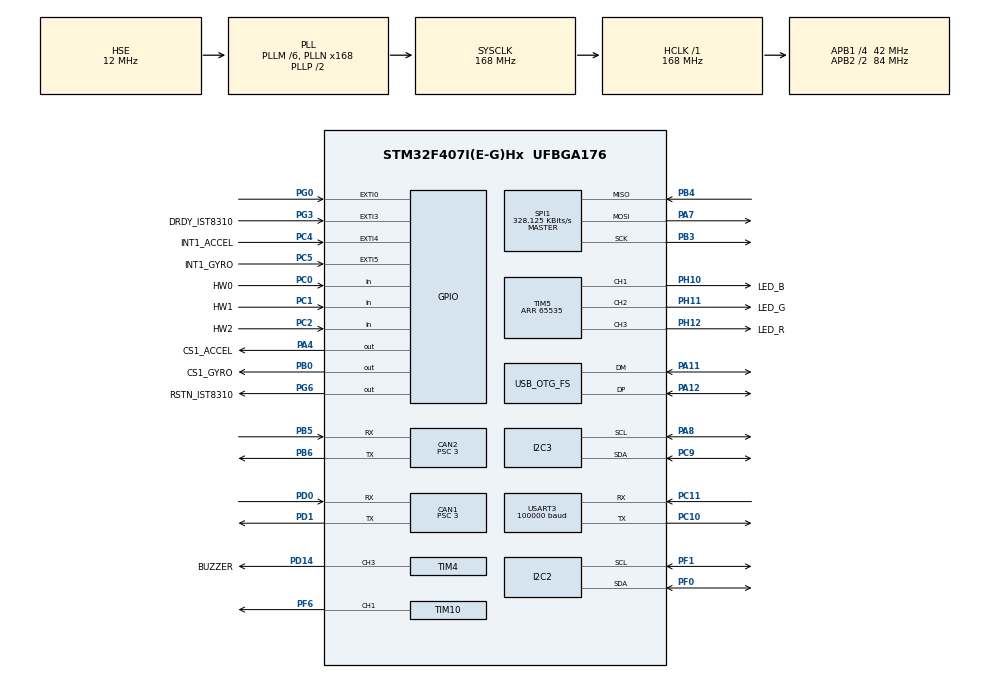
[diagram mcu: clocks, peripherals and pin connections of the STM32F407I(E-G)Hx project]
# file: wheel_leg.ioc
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CAN1.BS1=CAN_BS1_10TQ
CAN1.BS2=CAN_BS2_3TQ
CAN1.CalculateBaudRate=1000000
CAN1.CalculateTimeBit=1000
CAN1.CalculateTimeQuantum=71.42857142857143
CAN1.NART=ENABLE
CAN1.Prescaler=3
CAN2.BS1=CAN_BS1_10TQ
CAN2.BS2=CAN_BS2_3TQ
CAN2.CalculateBaudRate=1000000
CAN2.CalculateTimeBit=1000
CAN2.CalculateTimeQuantum=71.42857142857143
CAN2.NART=ENABLE
CAN2.Prescaler=3
Dma.Request0=USART3_RX
Dma.Request1=SPI1_RX
Dma.Request2=SPI1_TX
Dma.SPI1_RX.1.Direction=DMA_PERIPH_TO_MEMORY
Dma.SPI1_RX.1.FIFOMode=DMA_FIFOMODE_DISABLE
Dma.SPI1_RX.1.Instance=DMA2_Stream2
Dma.SPI1_RX.1.MemDataAlignment=DMA_MDATAALIGN_BYTE
Dma.SPI1_RX.1.MemInc=DMA_MINC_ENABLE
Dma.SPI1_RX.1.Mode=DMA_NORMAL
Dma.SPI1_RX.1.PeriphDataAlignment=DMA_PDATAALIGN_BYTE
Dma.SPI1_RX.1.PeriphInc=DMA_PINC_DISABLE
Dma.SPI1_RX.1.Priority=DMA_PRIORITY_VERY_HIGH
Dma.SPI1_TX.2.Direction=DMA_MEMORY_TO_PERIPH
Dma.SPI1_TX.2.FIFOMode=DMA_FIFOMODE_DISABLE
Dma.SPI1_TX.2.Instance=DMA2_Stream3
Dma.SPI1_TX.2.MemDataAlignment=DMA_MDATAALIGN_BYTE
Dma.SPI1_TX.2.MemInc=DMA_MINC_ENABLE
Dma.SPI1_TX.2.Mode=DMA_NORMAL
Dma.SPI1_TX.2.PeriphDataAlignment=DMA_PDATAALIGN_BYTE
Dma.SPI1_TX.2.PeriphInc=DMA_PINC_DISABLE
Dma.SPI1_TX.2.Priority=DMA_PRIORITY_HIGH
Dma.USART3_RX.0.Direction=DMA_PERIPH_TO_MEMORY
Dma.USART3_RX.0.FIFOMode=DMA_FIFOMODE_DISABLE
Dma.USART3_RX.0.Instance=DMA1_Stream1
Dma.USART3_RX.0.MemDataAlignment=DMA_MDATAALIGN_BYTE
Dma.USART3_RX.0.MemInc=DMA_MINC_ENABLE
Dma.USART3_RX.0.Mode=DMA_NORMAL
Dma.USART3_RX.0.PeriphDataAlignment=DMA_PDATAALIGN_BYTE
Dma.USART3_RX.0.PeriphInc=DMA_PINC_DISABLE
Dma.USART3_RX.0.Priority=DMA_PRIORITY_VERY_HIGH
FREERTOS.INCLUDE_eTaskGetState=1
FREERTOS.INCLUDE_pcTaskGetTaskName=1
FREERTOS.INCLUDE_uxTaskGetStackHighWaterMark=1
FREERTOS.INCLUDE_uxTaskGetStackHighWaterMark2=0
FREERTOS.INCLUDE_vTaskCleanUpResources=1
FREERTOS.INCLUDE_vTaskDelayUntil=1
FREERTOS.INCLUDE_xEventGroupSetBitFromISR=1
FREERTOS.INCLUDE_xQueueGetMutexHolder=1
FREERTOS.INCLUDE_xSemaphoreGetMutexHolder=1
FREERTOS.INCLUDE_xTaskAbortDelay=1
FREERTOS.INCLUDE_xTaskGetCurrentTaskHandle=1
FREERTOS.INCLUDE_xTaskGetHandle=1
FREERTOS.INCLUDE_xTimerPendFunctionCall=1
FREERTOS.Tasks01=defaultTask,0,128,StartDefaultTask,Default,NULL,Dynamic,NULL,NULL
FREERTOS.configENABLE_FPU=1
FREERTOS.configGENERATE_RUN_TIME_STATS=0
FREERTOS.configTOTAL_HEAP_SIZE=24576
FREERTOS.configUSE_NEWLIB_REENTRANT=1
FREERTOS.configUSE_TIMERS=1
I2C3.I2C_Mode=I2C_Fast
Mcu.Family=STM32F4
Mcu.Name=STM32F407I(E-G)Hx
Mcu.Package=UFBGA176
NVIC.CAN1_RX0_IRQn=true\:5\:0\:false\:false\:true\:true\:true\:true\:true
NVIC.CAN1_TX_IRQn=true\:5\:0\:false\:false\:true\:true\:true\:true\:true
NVIC.CAN2_RX0_IRQn=true\:5\:0\:false\:false\:true\:true\:true\:true\:true
NVIC.CAN2_TX_IRQn=true\:5\:0\:false\:false\:true\:true\:true\:true\:true
NVIC.DMA1_Stream1_IRQn=true\:5\:0\:false\:false\:true\:true\:false\:true\:true
NVIC.DMA2_Stream2_IRQn=true\:5\:0\:false\:false\:true\:false\:false\:true\:true
NVIC.DMA2_Stream3_IRQn=true\:5\:0\:false\:false\:true\:true\:false\:true\:true
NVIC.EXTI0_IRQn=true\:5\:0\:false\:false\:true\:true\:true\:true\:true
NVIC.EXTI3_IRQn=true\:5\:0\:false\:false\:true\:true\:true\:true\:true
NVIC.EXTI4_IRQn=true\:5\:0\:false\:false\:true\:true\:true\:true\:true
NVIC.EXTI9_5_IRQn=true\:5\:0\:false\:false\:true\:false\:true\:true\:true
NVIC.OTG_FS_IRQn=true\:5\:0\:false\:false\:true\:true\:false\:true\:true
NVIC.PriorityGroup=NVIC_PRIORITYGROUP_4
NVIC.TIM2_IRQn=true\:15\:0\:false\:false\:true\:false\:false\:true\:true
NVIC.TimeBase=TIM2_IRQn
NVIC.TimeBaseIP=TIM2
NVIC.USART3_IRQn=true\:5\:0\:false\:false\:false\:true\:true\:true\:true
PA11.Mode=Device_Only
PA11.Signal=USB_OTG_FS_DM
PA12.Mode=Device_Only
PA12.Signal=USB_OTG_FS_DP
PA13.Mode=Serial_Wire
PA13.Signal=SYS_JTMS-SWDIO
PA14.Mode=Serial_Wire
PA14.Signal=SYS_JTCK-SWCLK
PA4.GPIO_Label=CS1_ACCEL
PA4.GPIO_PuPd=GPIO_PULLUP
PA4.GPIO_Speed=GPIO_SPEED_FREQ_HIGH
PA4.PinState=GPIO_PIN_SET
PA4.Signal=GPIO_Output
PA7.Mode=Full_Duplex_Master
PA7.Signal=SPI1_MOSI
PA8.Mode=I2C
PA8.Signal=I2C3_SCL
PB0.GPIO_Label=CS1_GYRO
PB0.GPIO_PuPd=GPIO_PULLUP
PB0.GPIO_Speed=GPIO_SPEED_FREQ_HIGH
PB0.PinState=GPIO_PIN_SET
PB0.Signal=GPIO_Output
PB3.Mode=Full_Duplex_Master
PB3.Signal=SPI1_SCK
PB4.Mode=Full_Duplex_Master
PB4.Signal=SPI1_MISO
PB5.Mode=CAN_Activate
PB5.Signal=CAN2_RX
PB6.Mode=CAN_Activate
PB6.Signal=CAN2_TX
PC0.GPIO_Label=HW0
PC0.Signal=GPIO_Input
PC1.GPIO_Label=HW1
PC1.Signal=GPIO_Input
PC10.Mode=Asynchronous
PC10.Signal=USART3_TX
PC11.Mode=Asynchronous
PC11.Signal=USART3_RX
PC2.GPIO_Label=HW2
PC2.Signal=GPIO_Input
PC4.GPIO_Label=INT1_ACCEL
PC4.GPIO_ModeDefaultEXTI=GPIO_MODE_IT_FALLING
PC4.GPIO_PuPd=GPIO_PULLUP
PC4.Signal=GPXTI4
PC5.GPIO_Label=INT1_GYRO
PC5.GPIO_ModeDefaultEXTI=GPIO_MODE_IT_FALLING
PC5.GPIO_PuPd=GPIO_PULLUP
PC5.Signal=GPXTI5
PC9.Mode=I2C
PC9.Signal=I2C3_SDA
PD0.Mode=CAN_Activate
PD0.Signal=CAN1_RX
PD1.Mode=CAN_Activate
PD1.Signal=CAN1_TX
PD14.GPIO_Label=BUZZER
PD14.GPIO_PuPd=GPIO_PULLUP
PD14.GPIO_Speed=GPIO_SPEED_FREQ_VERY_HIGH
PD14.Signal=S_TIM4_CH3
PF0.Mode=I2C
PF0.Signal=I2C2_SDA
PF1.Mode=I2C
PF1.Signal=I2C2_SCL
PF6.GPIO_PuPd=GPIO_PULLUP
PF6.GPIO_Speed=GPIO_SPEED_FREQ_HIGH
PF6.Signal=S_TIM10_CH1
PG0.GPIO_ModeDefaultEXTI=GPIO_MODE_IT_FALLING
PG0.GPIO_PuPd=GPIO_PULLUP
PG0.Signal=GPXTI0
PG3.GPIO_Label=DRDY_IST8310
PG3.GPIO_ModeDefaultEXTI=GPIO_MODE_IT_FALLING
PG3.GPIO_PuPd=GPIO_PULLUP
PG3.Signal=GPXTI3
PG6.GPIO_Label=RSTN_IST8310
PG6.GPIO_ModeDefaultOutputPP=GPIO_MODE_OUTPUT_PP
PG6.GPIO_PuPd=GPIO_PULLUP
PG6.GPIO_Speed=GPIO_SPEED_FREQ_MEDIUM
PG6.PinState=GPIO_PIN_SET
PG6.Signal=GPIO_Output
PH0-OSC_IN.Mode=HSE-External-Oscillator
PH0-OSC_IN.Signal=RCC_OSC_IN
PH1-OSC_OUT.Mode=HSE-External-Oscillator
PH1-OSC_OUT.Signal=RCC_OSC_OUT
PH10.GPIO_Label=LED_B
PH10.GPIO_PuPd=GPIO_PULLUP
PH10.GPIO_Speed=GPIO_SPEED_FREQ_HIGH
PH10.Signal=S_TIM5_CH1
PH11.GPIO_Label=LED_G
PH11.GPIO_PuPd=GPIO_PULLUP
PH11.GPIO_Speed=GPIO_SPEED_FREQ_HIGH
PH11.Signal=S_TIM5_CH2
PH12.GPIO_Label=LED_R
PH12.GPIO_PuPd=GPIO_PULLUP
PH12.GPIO_Speed=GPIO_SPEED_FREQ_HIGH
PH12.Signal=S_TIM5_CH3
ProjectManager.HeapSize=0x1000
ProjectManager.StackSize=0x1000
ProjectManager.TargetToolchain=STM32CubeIDE
RCC.48MHZClocksFreq_Value=48000000
RCC.AHBFreq_Value=168000000
RCC.APB1CLKDivider=RCC_HCLK_DIV4
RCC.APB1Freq_Value=42000000
RCC.APB1TimFreq_Value=84000000
RCC.APB2CLKDivider=RCC_HCLK_DIV2
RCC.APB2Freq_Value=84000000
RCC.APB2TimFreq_Value=168000000
RCC.CortexFreq_Value=168000000
RCC.HCLKFreq_Value=168000000
RCC.HSE_VALUE=12000000
RCC.HSI_VALUE=16000000
RCC.LSE_VALUE=32768
RCC.PLLM=6
RCC.PLLN=168
RCC.PLLQ=7
RCC.SYSCLKFreq_VALUE=168000000
RCC.SYSCLKSource=RCC_SYSCLKSOURCE_PLLCLK
RCC.VCOOutputFreq_Value=336000000
SH.S_TIM10_CH1.0=TIM10_CH1,PWM Generation1 CH1
SH.S_TIM4_CH3.0=TIM4_CH3,PWM Generation3 CH3
SH.S_TIM5_CH1.0=TIM5_CH1,PWM Generation1 CH1
SH.S_TIM5_CH2.0=TIM5_CH2,PWM Generation2 CH2
SH.S_TIM5_CH3.0=TIM5_CH3,PWM Generation3 CH3
SPI1.BaudRatePrescaler=SPI_BAUDRATEPRESCALER_256
SPI1.CLKPhase=SPI_PHASE_2EDGE
SPI1.CLKPolarity=SPI_POLARITY_HIGH
SPI1.CalculateBaudRate=328.125 KBits/s
SPI1.Direction=SPI_DIRECTION_2LINES
SPI1.Mode=SPI_MODE_MASTER
SPI1.VirtualType=VM_MASTER
STMicroelectronics.X-CUBE-ALGOBUILD.1.3.0.LibraryCcDSPOoLibraryJjDSPOoLibrary=true
TIM10.Channel=TIM_CHANNEL_1
TIM10.Period=4999
TIM10.Prescaler=0
TIM4.Channel-PWM\ Generation3\ CH3=TIM_CHANNEL_3
TIM4.Prescaler=167
TIM5.Channel-PWM\ Generation1\ CH1=TIM_CHANNEL_1
TIM5.Channel-PWM\ Generation2\ CH2=TIM_CHANNEL_2
TIM5.Channel-PWM\ Generation3\ CH3=TIM_CHANNEL_3
TIM5.Period=65535
USART3.BaudRate=100000
USART3.Parity=PARITY_EVEN
USART3.VirtualMode=VM_ASYNC
USB_DEVICE.CLASS_NAME_FS=CDC
USB_DEVICE.VirtualMode-CDC_FS=Cdc
USB_DEVICE.VirtualModeFS=Cdc_FS
USB_OTG_FS.VirtualMode=Device_Only
VP_FREERTOS_VS_CMSIS_V1.Mode=CMSIS_V1
VP_STMicroelectronics.X-CUBE-ALGOBUILD_VS_DSPOoLibraryJjLibrary_1.3.0_1.3.0.Mode=DSPOoLibraryJjLibrary
VP_SYS_VS_tim2.Mode=TIM2
VP_TIM10_VS_ClockSourceINT.Mode=Enable_Timer
VP_TIM4_VS_ClockSourceINT.Mode=Internal
VP_TIM5_VS_ClockSourceINT.Mode=Internal
VP_USB_DEVICE_VS_USB_DEVICE_CDC_FS.Mode=CDC_FS
board=custom

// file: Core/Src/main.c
/* USER CODE BEGIN Header */
/**
  ******************************************************************************
  * @file           : main.c
  * @brief          : Main program body
  ******************************************************************************
  * @attention
  *
  * Copyright (c) 2024 STMicroelectronics.
  * All rights reserved.
  *
  * This software is licensed under terms that can be found in the LICENSE file
  * in the root directory of this software component.
  * If no LICENSE file comes with this software, it is provided AS-IS.
  *
  ******************************************************************************
  */
/* USER CODE END Header */
#include "main.h"
#include "cmsis_os.h"
#include "can.h"
#include "dma.h"
#include "i2c.h"
#include "spi.h"
#include "tim.h"
#include "usart.h"
#include "usb_device.h"
#include "gpio.h"

/* USER CODE BEGIN Includes */
#include "delay.h"
#include "bsp_can.h"
#include "bsp_dwt.h"
#include "remote.h"
#include "BMI088driver.h"
/* USER CODE END Includes */

void SystemClock_Config(void);
void MX_FREERTOS_Init(void);

int main(void)
{

  /* MCU Configuration--------------------------------------------------------*/

  /* Reset of all peripherals, Initializes the Flash interface and the Systick. */
  HAL_Init();

  /* Configure the system clock */
  SystemClock_Config();

  /* Initialize all configured peripherals */
  MX_GPIO_Init();
  MX_DMA_Init();
  MX_USART3_UART_Init();
  MX_CAN1_Init();
  MX_CAN2_Init();
  MX_SPI1_Init();
  MX_I2C3_Init();
  MX_TIM4_Init();
  MX_TIM5_Init();
  MX_TIM10_Init();
  MX_I2C2_Init();
  /* USER CODE BEGIN 2 */
  can_filter_init();
  delay_init();
  remote_control_init();
  DWT_Init(168);
  while (BMI088_init(&hspi1, 1) != BMI088_NO_ERROR);
  /* USER CODE END 2 */

  /* Call init function for freertos objects (in freertos.c) */
  MX_FREERTOS_Init();

  /* Start scheduler */
  osKernelStart();

  /* We should never get here as control is now taken by the scheduler */
  /* Infinite loop */
  while (1)
  {

  }
}

void SystemClock_Config(void)
{
  RCC_OscInitTypeDef RCC_OscInitStruct = {0};
  RCC_ClkInitTypeDef RCC_ClkInitStruct = {0};

  /** Configure the main internal regulator output voltage
  */
  __HAL_RCC_PWR_CLK_ENABLE();
  __HAL_PWR_VOLTAGESCALING_CONFIG(PWR_REGULATOR_VOLTAGE_SCALE1);

  /** Initializes the RCC Oscillators according to the specified parameters
  * in the RCC_OscInitTypeDef structure.
  */
  RCC_OscInitStruct.OscillatorType = RCC_OSCILLATORTYPE_HSE;
  RCC_OscInitStruct.HSEState = RCC_HSE_ON;
  RCC_OscInitStruct.PLL.PLLState = RCC_PLL_ON;
  RCC_OscInitStruct.PLL.PLLSource = RCC_PLLSOURCE_HSE;
  RCC_OscInitStruct.PLL.PLLM = 6;
  RCC_OscInitStruct.PLL.PLLN = 168;
  RCC_OscInitStruct.PLL.PLLP = RCC_PLLP_DIV2;
  RCC_OscInitStruct.PLL.PLLQ = 7;
  if (HAL_RCC_OscConfig(&RCC_OscInitStruct) != HAL_OK)
  {
    Error_Handler();
  }

  /** Initializes the CPU, AHB and APB buses clocks
  */
  RCC_ClkInitStruct.ClockType = RCC_CLOCKTYPE_HCLK|RCC_CLOCKTYPE_SYSCLK
                              |RCC_CLOCKTYPE_PCLK1|RCC_CLOCKTYPE_PCLK2;
  RCC_ClkInitStruct.SYSCLKSource = RCC_SYSCLKSOURCE_PLLCLK;
  RCC_ClkInitStruct.AHBCLKDivider = RCC_SYSCLK_DIV1;
  RCC_ClkInitStruct.APB1CLKDivider = RCC_HCLK_DIV4;
  RCC_ClkInitStruct.APB2CLKDivider = RCC_HCLK_DIV2;

  if (HAL_RCC_ClockConfig(&RCC_ClkInitStruct, FLASH_LATENCY_5) != HAL_OK)
  {
    Error_Handler();
  }
}

void HAL_TIM_PeriodElapsedCallback(TIM_HandleTypeDef *htim)
{
  if (htim->Instance == TIM2) {
    HAL_IncTick();
  }
}

void Error_Handler(void)
{
  __disable_irq();
  while (1)
  {
  }
}

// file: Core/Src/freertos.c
/* USER CODE BEGIN Header */
/**
  ******************************************************************************
  * File Name          : freertos.c
  * Description        : Code for freertos applications
  ******************************************************************************
  * @attention
  *
  * Copyright (c) 2024 STMicroelectronics.
  * All rights reserved.
  *
  * This software is licensed under terms that can be found in the LICENSE file
  * in the root directory of this software component.
  * If no LICENSE file comes with this software, it is provided AS-IS.
  *
  ******************************************************************************
  */
/* USER CODE END Header */

#include "FreeRTOS.h"
#include "task.h"
#include "main.h"
#include "cmsis_os.h"

/* USER CODE BEGIN Includes */
#include "Calibrate.h"
#include "robot_def.h"
#include "ins_task.h"
#include "left_task.h"
#include "right_task.h"
#include "observe_task.h"
#include "rc_task.h"

/* USER CODE END Includes */

/* USER CODE BEGIN Variables */
//osThreadId calibrateTaskHandle;

osThreadId INSTaskHandle;
osThreadId LeftTaskHandle;
osThreadId RightTaskHandle;
osThreadId ObserveTaskHandle;
osThreadId RCTaskHandle;

/* USER CODE END Variables */
osThreadId defaultTaskHandle;

void StartDefaultTask(void const * argument);

extern void MX_USB_DEVICE_Init(void);
void MX_FREERTOS_Init(void); /* (MISRA C 2004 rule 8.1) */

/* GetIdleTaskMemory prototype (linked to static allocation support) */
void vApplicationGetIdleTaskMemory( StaticTask_t **ppxIdleTaskTCBBuffer, StackType_t **ppxIdleTaskStackBuffer, uint32_t *pulIdleTaskStackSize );

/* GetTimerTaskMemory prototype (linked to static allocation support) */
void vApplicationGetTimerTaskMemory( StaticTask_t **ppxTimerTaskTCBBuffer, StackType_t **ppxTimerTaskStackBuffer, uint32_t *pulTimerTaskStackSize );

/* USER CODE BEGIN GET_IDLE_TASK_MEMORY */
static StaticTask_t xIdleTaskTCBBuffer;
static StackType_t xIdleStack[configMINIMAL_STACK_SIZE];

void vApplicationGetIdleTaskMemory(StaticTask_t **ppxIdleTaskTCBBuffer,
                                   StackType_t **ppxIdleTaskStackBuffer,
                                   uint32_t *pulIdleTaskStackSize) {
  *ppxIdleTaskTCBBuffer = &xIdleTaskTCBBuffer;
  *ppxIdleTaskStackBuffer = &xIdleStack[0];
  *pulIdleTaskStackSize = configMINIMAL_STACK_SIZE;
  /* place for user code */
}
/* USER CODE END GET_IDLE_TASK_MEMORY */

/* USER CODE BEGIN GET_TIMER_TASK_MEMORY */
static StaticTask_t xTimerTaskTCBBuffer;
static StackType_t xTimerStack[configTIMER_TASK_STACK_DEPTH];

void vApplicationGetTimerTaskMemory(StaticTask_t **ppxTimerTaskTCBBuffer,
                                    StackType_t **ppxTimerTaskStackBuffer,
                                    uint32_t *pulTimerTaskStackSize) {
  *ppxTimerTaskTCBBuffer = &xTimerTaskTCBBuffer;
  *ppxTimerTaskStackBuffer = &xTimerStack[0];
  *pulTimerTaskStackSize = configTIMER_TASK_STACK_DEPTH;
  /* place for user code */
}
/* USER CODE END GET_TIMER_TASK_MEMORY */

void MX_FREERTOS_Init(void) {

  /* Create the thread(s) */
  /* definition and creation of defaultTask */
  osThreadDef(defaultTask, StartDefaultTask, osPriorityNormal, 0, 128);
  defaultTaskHandle = osThreadCreate(osThread(defaultTask), NULL);

  /* USER CODE BEGIN RTOS_THREADS */
  osThreadDef(INSTask, INS_Task, osPriorityRealtime, 0, 1024);
  INSTaskHandle = osThreadCreate(osThread(INSTask), NULL);

  osThreadDef(ObserveTask, observe_task, osPriorityHigh, 0, 512);
  ObserveTaskHandle = osThreadCreate(osThread(ObserveTask), NULL);

  osThreadDef(LeftTask, left_task, osPriorityAboveNormal, 0, 512);
  LeftTaskHandle = osThreadCreate(osThread(LeftTask), NULL);

  osThreadDef(RightTask, right_task, osPriorityAboveNormal, 0, 512);
  RightTaskHandle = osThreadCreate(osThread(RightTask), NULL);

//  osThreadDef(RCTask, RC_task, osPriorityNormal, 0, 256);
//  RCTaskHandle = osThreadCreate(osThread(RCTask), NULL);

//  osThreadDef(calibrateTask, calibrate_task, osPriorityIdle, 0, 512);
//  calibrateTaskHandle = osThreadCreate(osThread(calibrateTask), NULL);

  /* USER CODE END RTOS_THREADS */

}

void StartDefaultTask(void const * argument)
{
  /* init code for USB_DEVICE */
  MX_USB_DEVICE_Init();
  for (;;) {
    osDelay(1);
  }
}
